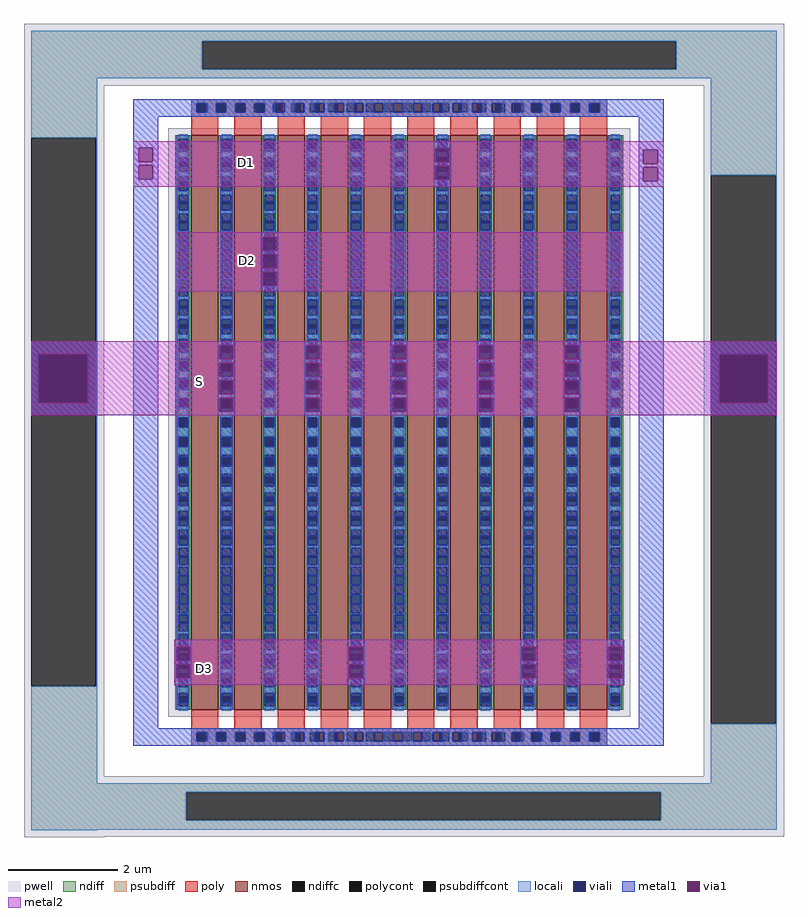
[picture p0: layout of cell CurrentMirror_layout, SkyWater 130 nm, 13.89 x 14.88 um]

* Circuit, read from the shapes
.subckt CurrentMirror_layout D3 S D1 D2
XM1 S D1 D3 S sky130_fd_pr__nfet_01v8 w=10.5 l=0.5 m=6
XM2 D2 D1 S S sky130_fd_pr__nfet_01v8 w=10.5 l=0.5 m=2
XM3 D1 D1 S S sky130_fd_pr__nfet_01v8 w=10.5 l=0.5 m=2
.ends

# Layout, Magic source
magic
tech sky130A
magscale 1 2
<< pwell >>
rect -553 2308 2226 2534
rect -553 -217 -260 2308
rect 1933 -217 2226 2308
rect -553 -439 2226 -217
rect -553 -441 -260 -439
<< psubdiff >>
rect -527 2470 2200 2508
rect -527 2368 98 2470
rect 1832 2368 2200 2470
rect -527 2334 2200 2368
rect -527 2117 -286 2334
rect -289 111 -286 2117
rect -527 -243 -286 111
rect 1959 1980 2200 2334
rect 2197 -26 2200 1980
rect 1959 -243 2200 -26
rect -527 -277 2200 -243
rect -527 -379 41 -277
rect 1775 -379 2200 -277
rect -527 -413 2200 -379
rect -527 -415 -286 -413
<< psubdiffcont >>
rect 98 2368 1832 2470
rect -527 111 -289 2117
rect 1959 -26 2197 1980
rect 41 -379 1775 -277
<< poly >>
rect 58 2244 1580 2258
rect 58 2210 84 2244
rect 118 2210 152 2244
rect 186 2210 220 2244
rect 254 2210 288 2244
rect 322 2210 356 2244
rect 390 2210 424 2244
rect 458 2210 492 2244
rect 526 2210 560 2244
rect 594 2210 628 2244
rect 662 2210 696 2244
rect 730 2210 764 2244
rect 798 2210 832 2244
rect 866 2210 900 2244
rect 934 2210 968 2244
rect 1002 2210 1036 2244
rect 1070 2210 1104 2244
rect 1138 2210 1172 2244
rect 1206 2210 1240 2244
rect 1274 2210 1308 2244
rect 1342 2210 1376 2244
rect 1410 2210 1444 2244
rect 1478 2210 1512 2244
rect 1546 2210 1580 2244
rect 58 2194 1580 2210
rect 58 2152 158 2194
rect 216 2152 316 2194
rect 374 2152 474 2194
rect 532 2152 632 2194
rect 690 2152 790 2194
rect 848 2152 948 2194
rect 1006 2152 1106 2194
rect 1164 2152 1264 2194
rect 1322 2152 1422 2194
rect 1480 2152 1580 2194
rect 58 -42 158 0
rect 216 -42 316 0
rect 374 -42 474 0
rect 532 -42 632 0
rect 690 -42 790 0
rect 848 -42 948 0
rect 1006 -42 1106 0
rect 1164 -42 1264 0
rect 1322 -42 1422 0
rect 1480 -42 1580 0
rect 58 -56 1580 -42
rect 58 -90 84 -56
rect 118 -90 152 -56
rect 186 -90 220 -56
rect 254 -90 288 -56
rect 322 -90 356 -56
rect 390 -90 424 -56
rect 458 -90 492 -56
rect 526 -90 560 -56
rect 594 -90 628 -56
rect 662 -90 696 -56
rect 730 -90 764 -56
rect 798 -90 832 -56
rect 866 -90 900 -56
rect 934 -90 968 -56
rect 1002 -90 1036 -56
rect 1070 -90 1104 -56
rect 1138 -90 1172 -56
rect 1206 -90 1240 -56
rect 1274 -90 1308 -56
rect 1342 -90 1376 -56
rect 1410 -90 1444 -56
rect 1478 -90 1512 -56
rect 1546 -90 1580 -56
rect 58 -106 1580 -90
<< polycont >>
rect 84 2210 118 2244
rect 152 2210 186 2244
rect 220 2210 254 2244
rect 288 2210 322 2244
rect 356 2210 390 2244
rect 424 2210 458 2244
rect 492 2210 526 2244
rect 560 2210 594 2244
rect 628 2210 662 2244
rect 696 2210 730 2244
rect 764 2210 798 2244
rect 832 2210 866 2244
rect 900 2210 934 2244
rect 968 2210 1002 2244
rect 1036 2210 1070 2244
rect 1104 2210 1138 2244
rect 1172 2210 1206 2244
rect 1240 2210 1274 2244
rect 1308 2210 1342 2244
rect 1376 2210 1410 2244
rect 1444 2210 1478 2244
rect 1512 2210 1546 2244
rect 84 -90 118 -56
rect 152 -90 186 -56
rect 220 -90 254 -56
rect 288 -90 322 -56
rect 356 -90 390 -56
rect 424 -90 458 -56
rect 492 -90 526 -56
rect 560 -90 594 -56
rect 628 -90 662 -56
rect 696 -90 730 -56
rect 764 -90 798 -56
rect 832 -90 866 -56
rect 900 -90 934 -56
rect 968 -90 1002 -56
rect 1036 -90 1070 -56
rect 1104 -90 1138 -56
rect 1172 -90 1206 -56
rect 1240 -90 1274 -56
rect 1308 -90 1342 -56
rect 1376 -90 1410 -56
rect 1444 -90 1478 -56
rect 1512 -90 1546 -56
<< locali >>
rect -527 2470 2200 2508
rect -527 2368 98 2470
rect 1832 2368 2200 2470
rect -527 2334 2200 2368
rect -527 2117 -286 2334
rect 58 2244 1580 2258
rect 58 2210 78 2244
rect 118 2210 150 2244
rect 186 2210 220 2244
rect 256 2210 288 2244
rect 328 2210 356 2244
rect 400 2210 424 2244
rect 472 2210 492 2244
rect 544 2210 560 2244
rect 616 2210 628 2244
rect 688 2210 696 2244
rect 760 2210 764 2244
rect 866 2210 870 2244
rect 934 2210 942 2244
rect 1002 2210 1014 2244
rect 1070 2210 1086 2244
rect 1138 2210 1158 2244
rect 1206 2210 1230 2244
rect 1274 2210 1302 2244
rect 1342 2210 1374 2244
rect 1410 2210 1444 2244
rect 1480 2210 1512 2244
rect 1552 2210 1580 2244
rect 58 2194 1580 2210
rect -289 111 -286 2117
rect -527 -243 -286 111
rect 1959 1980 2200 2334
rect 2197 -26 2200 1980
rect 58 -56 1580 -42
rect 58 -90 78 -56
rect 118 -90 150 -56
rect 186 -90 220 -56
rect 256 -90 288 -56
rect 328 -90 356 -56
rect 400 -90 424 -56
rect 472 -90 492 -56
rect 544 -90 560 -56
rect 616 -90 628 -56
rect 688 -90 696 -56
rect 760 -90 764 -56
rect 866 -90 870 -56
rect 934 -90 942 -56
rect 1002 -90 1014 -56
rect 1070 -90 1086 -56
rect 1138 -90 1158 -56
rect 1206 -90 1230 -56
rect 1274 -90 1302 -56
rect 1342 -90 1374 -56
rect 1410 -90 1444 -56
rect 1480 -90 1512 -56
rect 1552 -90 1580 -56
rect 58 -106 1580 -90
rect 1959 -243 2200 -26
rect -527 -277 2200 -243
rect -527 -379 41 -277
rect 1775 -379 2200 -277
rect -527 -413 2200 -379
rect -527 -415 -286 -413
<< viali >>
rect 78 2210 84 2244
rect 84 2210 112 2244
rect 150 2210 152 2244
rect 152 2210 184 2244
rect 222 2210 254 2244
rect 254 2210 256 2244
rect 294 2210 322 2244
rect 322 2210 328 2244
rect 366 2210 390 2244
rect 390 2210 400 2244
rect 438 2210 458 2244
rect 458 2210 472 2244
rect 510 2210 526 2244
rect 526 2210 544 2244
rect 582 2210 594 2244
rect 594 2210 616 2244
rect 654 2210 662 2244
rect 662 2210 688 2244
rect 726 2210 730 2244
rect 730 2210 760 2244
rect 798 2210 832 2244
rect 870 2210 900 2244
rect 900 2210 904 2244
rect 942 2210 968 2244
rect 968 2210 976 2244
rect 1014 2210 1036 2244
rect 1036 2210 1048 2244
rect 1086 2210 1104 2244
rect 1104 2210 1120 2244
rect 1158 2210 1172 2244
rect 1172 2210 1192 2244
rect 1230 2210 1240 2244
rect 1240 2210 1264 2244
rect 1302 2210 1308 2244
rect 1308 2210 1336 2244
rect 1374 2210 1376 2244
rect 1376 2210 1408 2244
rect 1446 2210 1478 2244
rect 1478 2210 1480 2244
rect 1518 2210 1546 2244
rect 1546 2210 1552 2244
rect -499 1148 -321 1326
rect 1990 1147 2168 1325
rect 78 -90 84 -56
rect 84 -90 112 -56
rect 150 -90 152 -56
rect 152 -90 184 -56
rect 222 -90 254 -56
rect 254 -90 256 -56
rect 294 -90 322 -56
rect 322 -90 328 -56
rect 366 -90 390 -56
rect 390 -90 400 -56
rect 438 -90 458 -56
rect 458 -90 472 -56
rect 510 -90 526 -56
rect 526 -90 544 -56
rect 582 -90 594 -56
rect 594 -90 616 -56
rect 654 -90 662 -56
rect 662 -90 688 -56
rect 726 -90 730 -56
rect 730 -90 760 -56
rect 798 -90 832 -56
rect 870 -90 900 -56
rect 900 -90 904 -56
rect 942 -90 968 -56
rect 968 -90 976 -56
rect 1014 -90 1036 -56
rect 1036 -90 1048 -56
rect 1086 -90 1104 -56
rect 1104 -90 1120 -56
rect 1158 -90 1172 -56
rect 1172 -90 1192 -56
rect 1230 -90 1240 -56
rect 1240 -90 1264 -56
rect 1302 -90 1308 -56
rect 1308 -90 1336 -56
rect 1374 -90 1376 -56
rect 1376 -90 1408 -56
rect 1446 -90 1478 -56
rect 1478 -90 1480 -56
rect 1518 -90 1546 -56
rect 1546 -90 1552 -56
<< metal1 >>
rect -154 2244 1786 2258
rect -154 2210 78 2244
rect 112 2210 150 2244
rect 184 2210 222 2244
rect 256 2210 294 2244
rect 328 2210 366 2244
rect 400 2210 438 2244
rect 472 2210 510 2244
rect 544 2210 582 2244
rect 616 2210 654 2244
rect 688 2210 726 2244
rect 760 2210 798 2244
rect 832 2210 870 2244
rect 904 2210 942 2244
rect 976 2210 1014 2244
rect 1048 2210 1086 2244
rect 1120 2210 1158 2244
rect 1192 2210 1230 2244
rect 1264 2210 1302 2244
rect 1336 2210 1374 2244
rect 1408 2210 1446 2244
rect 1480 2210 1518 2244
rect 1552 2210 1786 2244
rect -154 2194 1786 2210
rect -154 2081 -62 2194
rect -154 2029 -134 2081
rect -82 2029 -62 2081
rect -154 2017 -62 2029
rect -154 1965 -134 2017
rect -82 1965 -62 2017
rect -527 1327 -286 1373
rect -527 1147 -500 1327
rect -320 1147 -286 1327
rect -527 1103 -286 1147
rect -154 -42 -62 1965
rect 945 2079 1009 2103
rect 945 2027 951 2079
rect 1003 2027 1009 2079
rect 945 2015 1009 2027
rect 945 1963 951 2015
rect 1003 1963 1009 2015
rect 945 1940 1009 1963
rect 1694 2073 1786 2194
rect 1694 2021 1712 2073
rect 1764 2021 1786 2073
rect 1694 2009 1786 2021
rect 1694 1957 1712 2009
rect 1764 1957 1786 2009
rect 313 1755 377 1770
rect 313 1703 319 1755
rect 371 1703 377 1755
rect 313 1691 377 1703
rect 313 1639 319 1691
rect 371 1639 377 1691
rect 313 1627 377 1639
rect 313 1575 319 1627
rect 371 1575 377 1627
rect 313 1560 377 1575
rect 155 1359 219 1373
rect 155 1307 161 1359
rect 213 1307 219 1359
rect 155 1295 219 1307
rect 155 1243 161 1295
rect 213 1243 219 1295
rect 155 1231 219 1243
rect 155 1179 161 1231
rect 213 1179 219 1231
rect 155 1167 219 1179
rect 155 1115 161 1167
rect 213 1115 219 1167
rect 155 1102 219 1115
rect 471 1359 535 1373
rect 471 1307 477 1359
rect 529 1307 535 1359
rect 471 1295 535 1307
rect 471 1243 477 1295
rect 529 1243 535 1295
rect 471 1231 535 1243
rect 471 1179 477 1231
rect 529 1179 535 1231
rect 471 1167 535 1179
rect 471 1115 477 1167
rect 529 1115 535 1167
rect 471 1102 535 1115
rect 787 1359 851 1373
rect 787 1307 793 1359
rect 845 1307 851 1359
rect 787 1295 851 1307
rect 787 1243 793 1295
rect 845 1243 851 1295
rect 787 1231 851 1243
rect 787 1179 793 1231
rect 845 1179 851 1231
rect 787 1167 851 1179
rect 787 1115 793 1167
rect 845 1115 851 1167
rect 787 1102 851 1115
rect 1103 1359 1167 1373
rect 1103 1307 1109 1359
rect 1161 1307 1167 1359
rect 1103 1295 1167 1307
rect 1103 1243 1109 1295
rect 1161 1243 1167 1295
rect 1103 1231 1167 1243
rect 1103 1179 1109 1231
rect 1161 1179 1167 1231
rect 1103 1167 1167 1179
rect 1103 1115 1109 1167
rect 1161 1115 1167 1167
rect 1103 1102 1167 1115
rect 1419 1359 1483 1373
rect 1419 1307 1425 1359
rect 1477 1307 1483 1359
rect 1419 1295 1483 1307
rect 1419 1243 1425 1295
rect 1477 1243 1483 1295
rect 1419 1231 1483 1243
rect 1419 1179 1425 1231
rect 1477 1179 1483 1231
rect 1419 1167 1483 1179
rect 1419 1115 1425 1167
rect 1477 1115 1483 1167
rect 1419 1102 1483 1115
rect -3 256 61 282
rect -3 204 3 256
rect 55 204 61 256
rect -3 192 61 204
rect -3 140 3 192
rect 55 140 61 192
rect -3 115 61 140
rect 629 256 693 282
rect 629 204 635 256
rect 687 204 693 256
rect 629 192 693 204
rect 629 140 635 192
rect 687 140 693 192
rect 629 115 693 140
rect 1261 256 1325 282
rect 1261 204 1267 256
rect 1319 204 1325 256
rect 1261 192 1325 204
rect 1261 140 1267 192
rect 1319 140 1325 192
rect 1261 115 1325 140
rect 1577 256 1641 282
rect 1577 204 1583 256
rect 1635 204 1641 256
rect 1577 192 1641 204
rect 1577 140 1583 192
rect 1635 140 1641 192
rect 1577 115 1641 140
rect 1694 -42 1786 1957
rect 1959 1326 2200 1373
rect 1959 1146 1989 1326
rect 2169 1146 2200 1326
rect 1959 1103 2200 1146
rect -154 -56 1786 -42
rect -154 -90 78 -56
rect 112 -90 150 -56
rect 184 -90 222 -56
rect 256 -90 294 -56
rect 328 -90 366 -56
rect 400 -90 438 -56
rect 472 -90 510 -56
rect 544 -90 582 -56
rect 616 -90 654 -56
rect 688 -90 726 -56
rect 760 -90 798 -56
rect 832 -90 870 -56
rect 904 -90 942 -56
rect 976 -90 1014 -56
rect 1048 -90 1086 -56
rect 1120 -90 1158 -56
rect 1192 -90 1230 -56
rect 1264 -90 1302 -56
rect 1336 -90 1374 -56
rect 1408 -90 1446 -56
rect 1480 -90 1518 -56
rect 1552 -90 1786 -56
rect -154 -106 1786 -90
<< via1 >>
rect -134 2029 -82 2081
rect -134 1965 -82 2017
rect -500 1326 -320 1327
rect -500 1148 -499 1326
rect -499 1148 -321 1326
rect -321 1148 -320 1326
rect -500 1147 -320 1148
rect 951 2027 1003 2079
rect 951 1963 1003 2015
rect 1712 2021 1764 2073
rect 1712 1957 1764 2009
rect 319 1703 371 1755
rect 319 1639 371 1691
rect 319 1575 371 1627
rect 161 1307 213 1359
rect 161 1243 213 1295
rect 161 1179 213 1231
rect 161 1115 213 1167
rect 477 1307 529 1359
rect 477 1243 529 1295
rect 477 1179 529 1231
rect 477 1115 529 1167
rect 793 1307 845 1359
rect 793 1243 845 1295
rect 793 1179 845 1231
rect 793 1115 845 1167
rect 1109 1307 1161 1359
rect 1109 1243 1161 1295
rect 1109 1179 1161 1231
rect 1109 1115 1161 1167
rect 1425 1307 1477 1359
rect 1425 1243 1477 1295
rect 1425 1179 1477 1231
rect 1425 1115 1477 1167
rect 3 204 55 256
rect 3 140 55 192
rect 635 204 687 256
rect 635 140 687 192
rect 1267 204 1319 256
rect 1267 140 1319 192
rect 1583 204 1635 256
rect 1583 140 1635 192
rect 1989 1325 2169 1326
rect 1989 1147 1990 1325
rect 1990 1147 2168 1325
rect 2168 1147 2169 1325
rect 1989 1146 2169 1147
<< metal2 >>
rect -154 2081 1786 2104
rect -154 2029 -134 2081
rect -82 2079 1786 2081
rect -82 2029 951 2079
rect -154 2027 951 2029
rect 1003 2073 1786 2079
rect 1003 2027 1712 2073
rect -154 2021 1712 2027
rect 1764 2021 1786 2073
rect -154 2017 1786 2021
rect -154 1965 -134 2017
rect -82 2015 1786 2017
rect -82 1965 951 2015
rect -154 1963 951 1965
rect 1003 2009 1786 2015
rect 1003 1963 1712 2009
rect -154 1957 1712 1963
rect 1764 1957 1786 2009
rect -154 1938 1786 1957
rect 0 1755 1638 1772
rect 0 1703 319 1755
rect 371 1703 1638 1755
rect 0 1691 1638 1703
rect 0 1639 319 1691
rect 371 1639 1638 1691
rect 0 1627 1638 1639
rect 0 1575 319 1627
rect 371 1575 1638 1627
rect 0 1556 1638 1575
rect -527 1359 2200 1373
rect -527 1327 161 1359
rect -527 1147 -500 1327
rect -320 1307 161 1327
rect 213 1307 477 1359
rect 529 1307 793 1359
rect 845 1307 1109 1359
rect 1161 1307 1425 1359
rect 1477 1326 2200 1359
rect 1477 1307 1989 1326
rect -320 1295 1989 1307
rect -320 1243 161 1295
rect 213 1243 477 1295
rect 529 1243 793 1295
rect 845 1243 1109 1295
rect 1161 1243 1425 1295
rect 1477 1243 1989 1295
rect -320 1231 1989 1243
rect -320 1179 161 1231
rect 213 1179 477 1231
rect 529 1179 793 1231
rect 845 1179 1109 1231
rect 1161 1179 1425 1231
rect 1477 1179 1989 1231
rect -320 1167 1989 1179
rect -320 1147 161 1167
rect -527 1115 161 1147
rect 213 1115 477 1167
rect 529 1115 793 1167
rect 845 1115 1109 1167
rect 1161 1115 1425 1167
rect 1477 1146 1989 1167
rect 2169 1146 2200 1326
rect 1477 1115 2200 1146
rect -527 1103 2200 1115
rect -3 256 1641 282
rect -3 204 3 256
rect 55 204 635 256
rect 687 204 1267 256
rect 1319 204 1583 256
rect 1635 204 1641 256
rect -3 192 1641 204
rect -3 140 3 192
rect 55 140 635 192
rect 687 140 1267 192
rect 1319 140 1583 192
rect 1635 140 1641 192
rect -3 116 1641 140
use sky130_fd_pr__nfet_01v8_RC9KLY  sky130_fd_pr__nfet_01v8_RC9KLY_9
transform 1 0 108 0 1 1076
box -134 -1076 134 1076
use sky130_fd_pr__nfet_01v8_RC9KLY  sky130_fd_pr__nfet_01v8_RC9KLY_8
transform 1 0 266 0 1 1076
box -134 -1076 134 1076
use sky130_fd_pr__nfet_01v8_RC9KLY  sky130_fd_pr__nfet_01v8_RC9KLY_7
transform 1 0 424 0 1 1076
box -134 -1076 134 1076
use sky130_fd_pr__nfet_01v8_RC9KLY  sky130_fd_pr__nfet_01v8_RC9KLY_6
transform 1 0 582 0 1 1076
box -134 -1076 134 1076
use sky130_fd_pr__nfet_01v8_RC9KLY  sky130_fd_pr__nfet_01v8_RC9KLY_5
transform 1 0 740 0 1 1076
box -134 -1076 134 1076
use sky130_fd_pr__nfet_01v8_RC9KLY  sky130_fd_pr__nfet_01v8_RC9KLY_4
transform 1 0 898 0 1 1076
box -134 -1076 134 1076
use sky130_fd_pr__nfet_01v8_RC9KLY  sky130_fd_pr__nfet_01v8_RC9KLY_3
transform 1 0 1056 0 1 1076
box -134 -1076 134 1076
use sky130_fd_pr__nfet_01v8_RC9KLY  sky130_fd_pr__nfet_01v8_RC9KLY_2
transform 1 0 1214 0 1 1076
box -134 -1076 134 1076
use sky130_fd_pr__nfet_01v8_RC9KLY  sky130_fd_pr__nfet_01v8_RC9KLY_1
transform 1 0 1372 0 1 1076
box -134 -1076 134 1076
use sky130_fd_pr__nfet_01v8_RC9KLY  sky130_fd_pr__nfet_01v8_RC9KLY_0
transform 1 0 1530 0 1 1076
box -134 -1076 134 1076
<< labels >>
flabel metal2 s 108 177 108 177 0 FreeSans 800 0 0 0 D3
port 1 nsew
flabel metal2 s 88 1226 88 1226 0 FreeSans 800 0 0 0 S
port 2 nsew
flabel metal2 s 262 2027 262 2027 0 FreeSans 800 0 0 0 D1
port 3 nsew
flabel metal2 s 266 1667 266 1667 0 FreeSans 800 0 0 0 D2
port 4 nsew
<< end >>

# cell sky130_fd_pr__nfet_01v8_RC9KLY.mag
magic
tech sky130A
magscale 1 2
<< pwell >>
rect -134 -1076 134 1076
<< nmos >>
rect -50 -1050 50 1050
<< ndiff >>
rect -108 1037 -50 1050
rect -108 1003 -96 1037
rect -62 1003 -50 1037
rect -108 969 -50 1003
rect -108 935 -96 969
rect -62 935 -50 969
rect -108 901 -50 935
rect -108 867 -96 901
rect -62 867 -50 901
rect -108 833 -50 867
rect -108 799 -96 833
rect -62 799 -50 833
rect -108 765 -50 799
rect -108 731 -96 765
rect -62 731 -50 765
rect -108 697 -50 731
rect -108 663 -96 697
rect -62 663 -50 697
rect -108 629 -50 663
rect -108 595 -96 629
rect -62 595 -50 629
rect -108 561 -50 595
rect -108 527 -96 561
rect -62 527 -50 561
rect -108 493 -50 527
rect -108 459 -96 493
rect -62 459 -50 493
rect -108 425 -50 459
rect -108 391 -96 425
rect -62 391 -50 425
rect -108 357 -50 391
rect -108 323 -96 357
rect -62 323 -50 357
rect -108 289 -50 323
rect -108 255 -96 289
rect -62 255 -50 289
rect -108 221 -50 255
rect -108 187 -96 221
rect -62 187 -50 221
rect -108 153 -50 187
rect -108 119 -96 153
rect -62 119 -50 153
rect -108 85 -50 119
rect -108 51 -96 85
rect -62 51 -50 85
rect -108 17 -50 51
rect -108 -17 -96 17
rect -62 -17 -50 17
rect -108 -51 -50 -17
rect -108 -85 -96 -51
rect -62 -85 -50 -51
rect -108 -119 -50 -85
rect -108 -153 -96 -119
rect -62 -153 -50 -119
rect -108 -187 -50 -153
rect -108 -221 -96 -187
rect -62 -221 -50 -187
rect -108 -255 -50 -221
rect -108 -289 -96 -255
rect -62 -289 -50 -255
rect -108 -323 -50 -289
rect -108 -357 -96 -323
rect -62 -357 -50 -323
rect -108 -391 -50 -357
rect -108 -425 -96 -391
rect -62 -425 -50 -391
rect -108 -459 -50 -425
rect -108 -493 -96 -459
rect -62 -493 -50 -459
rect -108 -527 -50 -493
rect -108 -561 -96 -527
rect -62 -561 -50 -527
rect -108 -595 -50 -561
rect -108 -629 -96 -595
rect -62 -629 -50 -595
rect -108 -663 -50 -629
rect -108 -697 -96 -663
rect -62 -697 -50 -663
rect -108 -731 -50 -697
rect -108 -765 -96 -731
rect -62 -765 -50 -731
rect -108 -799 -50 -765
rect -108 -833 -96 -799
rect -62 -833 -50 -799
rect -108 -867 -50 -833
rect -108 -901 -96 -867
rect -62 -901 -50 -867
rect -108 -935 -50 -901
rect -108 -969 -96 -935
rect -62 -969 -50 -935
rect -108 -1003 -50 -969
rect -108 -1037 -96 -1003
rect -62 -1037 -50 -1003
rect -108 -1050 -50 -1037
rect 50 1037 108 1050
rect 50 1003 62 1037
rect 96 1003 108 1037
rect 50 969 108 1003
rect 50 935 62 969
rect 96 935 108 969
rect 50 901 108 935
rect 50 867 62 901
rect 96 867 108 901
rect 50 833 108 867
rect 50 799 62 833
rect 96 799 108 833
rect 50 765 108 799
rect 50 731 62 765
rect 96 731 108 765
rect 50 697 108 731
rect 50 663 62 697
rect 96 663 108 697
rect 50 629 108 663
rect 50 595 62 629
rect 96 595 108 629
rect 50 561 108 595
rect 50 527 62 561
rect 96 527 108 561
rect 50 493 108 527
rect 50 459 62 493
rect 96 459 108 493
rect 50 425 108 459
rect 50 391 62 425
rect 96 391 108 425
rect 50 357 108 391
rect 50 323 62 357
rect 96 323 108 357
rect 50 289 108 323
rect 50 255 62 289
rect 96 255 108 289
rect 50 221 108 255
rect 50 187 62 221
rect 96 187 108 221
rect 50 153 108 187
rect 50 119 62 153
rect 96 119 108 153
rect 50 85 108 119
rect 50 51 62 85
rect 96 51 108 85
rect 50 17 108 51
rect 50 -17 62 17
rect 96 -17 108 17
rect 50 -51 108 -17
rect 50 -85 62 -51
rect 96 -85 108 -51
rect 50 -119 108 -85
rect 50 -153 62 -119
rect 96 -153 108 -119
rect 50 -187 108 -153
rect 50 -221 62 -187
rect 96 -221 108 -187
rect 50 -255 108 -221
rect 50 -289 62 -255
rect 96 -289 108 -255
rect 50 -323 108 -289
rect 50 -357 62 -323
rect 96 -357 108 -323
rect 50 -391 108 -357
rect 50 -425 62 -391
rect 96 -425 108 -391
rect 50 -459 108 -425
rect 50 -493 62 -459
rect 96 -493 108 -459
rect 50 -527 108 -493
rect 50 -561 62 -527
rect 96 -561 108 -527
rect 50 -595 108 -561
rect 50 -629 62 -595
rect 96 -629 108 -595
rect 50 -663 108 -629
rect 50 -697 62 -663
rect 96 -697 108 -663
rect 50 -731 108 -697
rect 50 -765 62 -731
rect 96 -765 108 -731
rect 50 -799 108 -765
rect 50 -833 62 -799
rect 96 -833 108 -799
rect 50 -867 108 -833
rect 50 -901 62 -867
rect 96 -901 108 -867
rect 50 -935 108 -901
rect 50 -969 62 -935
rect 96 -969 108 -935
rect 50 -1003 108 -969
rect 50 -1037 62 -1003
rect 96 -1037 108 -1003
rect 50 -1050 108 -1037
<< ndiffc >>
rect -96 1003 -62 1037
rect -96 935 -62 969
rect -96 867 -62 901
rect -96 799 -62 833
rect -96 731 -62 765
rect -96 663 -62 697
rect -96 595 -62 629
rect -96 527 -62 561
rect -96 459 -62 493
rect -96 391 -62 425
rect -96 323 -62 357
rect -96 255 -62 289
rect -96 187 -62 221
rect -96 119 -62 153
rect -96 51 -62 85
rect -96 -17 -62 17
rect -96 -85 -62 -51
rect -96 -153 -62 -119
rect -96 -221 -62 -187
rect -96 -289 -62 -255
rect -96 -357 -62 -323
rect -96 -425 -62 -391
rect -96 -493 -62 -459
rect -96 -561 -62 -527
rect -96 -629 -62 -595
rect -96 -697 -62 -663
rect -96 -765 -62 -731
rect -96 -833 -62 -799
rect -96 -901 -62 -867
rect -96 -969 -62 -935
rect -96 -1037 -62 -1003
rect 62 1003 96 1037
rect 62 935 96 969
rect 62 867 96 901
rect 62 799 96 833
rect 62 731 96 765
rect 62 663 96 697
rect 62 595 96 629
rect 62 527 96 561
rect 62 459 96 493
rect 62 391 96 425
rect 62 323 96 357
rect 62 255 96 289
rect 62 187 96 221
rect 62 119 96 153
rect 62 51 96 85
rect 62 -17 96 17
rect 62 -85 96 -51
rect 62 -153 96 -119
rect 62 -221 96 -187
rect 62 -289 96 -255
rect 62 -357 96 -323
rect 62 -425 96 -391
rect 62 -493 96 -459
rect 62 -561 96 -527
rect 62 -629 96 -595
rect 62 -697 96 -663
rect 62 -765 96 -731
rect 62 -833 96 -799
rect 62 -901 96 -867
rect 62 -969 96 -935
rect 62 -1037 96 -1003
<< poly >>
rect -50 1050 50 1076
rect -50 -1076 50 -1050
<< locali >>
rect -96 1037 -62 1054
rect -96 969 -62 991
rect -96 901 -62 919
rect -96 833 -62 847
rect -96 765 -62 775
rect -96 697 -62 703
rect -96 629 -62 631
rect -96 593 -62 595
rect -96 521 -62 527
rect -96 449 -62 459
rect -96 377 -62 391
rect -96 305 -62 323
rect -96 233 -62 255
rect -96 161 -62 187
rect -96 89 -62 119
rect -96 17 -62 51
rect -96 -51 -62 -17
rect -96 -119 -62 -89
rect -96 -187 -62 -161
rect -96 -255 -62 -233
rect -96 -323 -62 -305
rect -96 -391 -62 -377
rect -96 -459 -62 -449
rect -96 -527 -62 -521
rect -96 -595 -62 -593
rect -96 -631 -62 -629
rect -96 -703 -62 -697
rect -96 -775 -62 -765
rect -96 -847 -62 -833
rect -96 -919 -62 -901
rect -96 -991 -62 -969
rect -96 -1054 -62 -1037
rect 62 1037 96 1054
rect 62 969 96 991
rect 62 901 96 919
rect 62 833 96 847
rect 62 765 96 775
rect 62 697 96 703
rect 62 629 96 631
rect 62 593 96 595
rect 62 521 96 527
rect 62 449 96 459
rect 62 377 96 391
rect 62 305 96 323
rect 62 233 96 255
rect 62 161 96 187
rect 62 89 96 119
rect 62 17 96 51
rect 62 -51 96 -17
rect 62 -119 96 -89
rect 62 -187 96 -161
rect 62 -255 96 -233
rect 62 -323 96 -305
rect 62 -391 96 -377
rect 62 -459 96 -449
rect 62 -527 96 -521
rect 62 -595 96 -593
rect 62 -631 96 -629
rect 62 -703 96 -697
rect 62 -775 96 -765
rect 62 -847 96 -833
rect 62 -919 96 -901
rect 62 -991 96 -969
rect 62 -1054 96 -1037
<< viali >>
rect -96 1003 -62 1025
rect -96 991 -62 1003
rect -96 935 -62 953
rect -96 919 -62 935
rect -96 867 -62 881
rect -96 847 -62 867
rect -96 799 -62 809
rect -96 775 -62 799
rect -96 731 -62 737
rect -96 703 -62 731
rect -96 663 -62 665
rect -96 631 -62 663
rect -96 561 -62 593
rect -96 559 -62 561
rect -96 493 -62 521
rect -96 487 -62 493
rect -96 425 -62 449
rect -96 415 -62 425
rect -96 357 -62 377
rect -96 343 -62 357
rect -96 289 -62 305
rect -96 271 -62 289
rect -96 221 -62 233
rect -96 199 -62 221
rect -96 153 -62 161
rect -96 127 -62 153
rect -96 85 -62 89
rect -96 55 -62 85
rect -96 -17 -62 17
rect -96 -85 -62 -55
rect -96 -89 -62 -85
rect -96 -153 -62 -127
rect -96 -161 -62 -153
rect -96 -221 -62 -199
rect -96 -233 -62 -221
rect -96 -289 -62 -271
rect -96 -305 -62 -289
rect -96 -357 -62 -343
rect -96 -377 -62 -357
rect -96 -425 -62 -415
rect -96 -449 -62 -425
rect -96 -493 -62 -487
rect -96 -521 -62 -493
rect -96 -561 -62 -559
rect -96 -593 -62 -561
rect -96 -663 -62 -631
rect -96 -665 -62 -663
rect -96 -731 -62 -703
rect -96 -737 -62 -731
rect -96 -799 -62 -775
rect -96 -809 -62 -799
rect -96 -867 -62 -847
rect -96 -881 -62 -867
rect -96 -935 -62 -919
rect -96 -953 -62 -935
rect -96 -1003 -62 -991
rect -96 -1025 -62 -1003
rect 62 1003 96 1025
rect 62 991 96 1003
rect 62 935 96 953
rect 62 919 96 935
rect 62 867 96 881
rect 62 847 96 867
rect 62 799 96 809
rect 62 775 96 799
rect 62 731 96 737
rect 62 703 96 731
rect 62 663 96 665
rect 62 631 96 663
rect 62 561 96 593
rect 62 559 96 561
rect 62 493 96 521
rect 62 487 96 493
rect 62 425 96 449
rect 62 415 96 425
rect 62 357 96 377
rect 62 343 96 357
rect 62 289 96 305
rect 62 271 96 289
rect 62 221 96 233
rect 62 199 96 221
rect 62 153 96 161
rect 62 127 96 153
rect 62 85 96 89
rect 62 55 96 85
rect 62 -17 96 17
rect 62 -85 96 -55
rect 62 -89 96 -85
rect 62 -153 96 -127
rect 62 -161 96 -153
rect 62 -221 96 -199
rect 62 -233 96 -221
rect 62 -289 96 -271
rect 62 -305 96 -289
rect 62 -357 96 -343
rect 62 -377 96 -357
rect 62 -425 96 -415
rect 62 -449 96 -425
rect 62 -493 96 -487
rect 62 -521 96 -493
rect 62 -561 96 -559
rect 62 -593 96 -561
rect 62 -663 96 -631
rect 62 -665 96 -663
rect 62 -731 96 -703
rect 62 -737 96 -731
rect 62 -799 96 -775
rect 62 -809 96 -799
rect 62 -867 96 -847
rect 62 -881 96 -867
rect 62 -935 96 -919
rect 62 -953 96 -935
rect 62 -1003 96 -991
rect 62 -1025 96 -1003
<< metal1 >>
rect -102 1025 -56 1050
rect -102 991 -96 1025
rect -62 991 -56 1025
rect -102 953 -56 991
rect -102 919 -96 953
rect -62 919 -56 953
rect -102 881 -56 919
rect -102 847 -96 881
rect -62 847 -56 881
rect -102 809 -56 847
rect -102 775 -96 809
rect -62 775 -56 809
rect -102 737 -56 775
rect -102 703 -96 737
rect -62 703 -56 737
rect -102 665 -56 703
rect -102 631 -96 665
rect -62 631 -56 665
rect -102 593 -56 631
rect -102 559 -96 593
rect -62 559 -56 593
rect -102 521 -56 559
rect -102 487 -96 521
rect -62 487 -56 521
rect -102 449 -56 487
rect -102 415 -96 449
rect -62 415 -56 449
rect -102 377 -56 415
rect -102 343 -96 377
rect -62 343 -56 377
rect -102 305 -56 343
rect -102 271 -96 305
rect -62 271 -56 305
rect -102 233 -56 271
rect -102 199 -96 233
rect -62 199 -56 233
rect -102 161 -56 199
rect -102 127 -96 161
rect -62 127 -56 161
rect -102 89 -56 127
rect -102 55 -96 89
rect -62 55 -56 89
rect -102 17 -56 55
rect -102 -17 -96 17
rect -62 -17 -56 17
rect -102 -55 -56 -17
rect -102 -89 -96 -55
rect -62 -89 -56 -55
rect -102 -127 -56 -89
rect -102 -161 -96 -127
rect -62 -161 -56 -127
rect -102 -199 -56 -161
rect -102 -233 -96 -199
rect -62 -233 -56 -199
rect -102 -271 -56 -233
rect -102 -305 -96 -271
rect -62 -305 -56 -271
rect -102 -343 -56 -305
rect -102 -377 -96 -343
rect -62 -377 -56 -343
rect -102 -415 -56 -377
rect -102 -449 -96 -415
rect -62 -449 -56 -415
rect -102 -487 -56 -449
rect -102 -521 -96 -487
rect -62 -521 -56 -487
rect -102 -559 -56 -521
rect -102 -593 -96 -559
rect -62 -593 -56 -559
rect -102 -631 -56 -593
rect -102 -665 -96 -631
rect -62 -665 -56 -631
rect -102 -703 -56 -665
rect -102 -737 -96 -703
rect -62 -737 -56 -703
rect -102 -775 -56 -737
rect -102 -809 -96 -775
rect -62 -809 -56 -775
rect -102 -847 -56 -809
rect -102 -881 -96 -847
rect -62 -881 -56 -847
rect -102 -919 -56 -881
rect -102 -953 -96 -919
rect -62 -953 -56 -919
rect -102 -991 -56 -953
rect -102 -1025 -96 -991
rect -62 -1025 -56 -991
rect -102 -1050 -56 -1025
rect 56 1025 102 1050
rect 56 991 62 1025
rect 96 991 102 1025
rect 56 953 102 991
rect 56 919 62 953
rect 96 919 102 953
rect 56 881 102 919
rect 56 847 62 881
rect 96 847 102 881
rect 56 809 102 847
rect 56 775 62 809
rect 96 775 102 809
rect 56 737 102 775
rect 56 703 62 737
rect 96 703 102 737
rect 56 665 102 703
rect 56 631 62 665
rect 96 631 102 665
rect 56 593 102 631
rect 56 559 62 593
rect 96 559 102 593
rect 56 521 102 559
rect 56 487 62 521
rect 96 487 102 521
rect 56 449 102 487
rect 56 415 62 449
rect 96 415 102 449
rect 56 377 102 415
rect 56 343 62 377
rect 96 343 102 377
rect 56 305 102 343
rect 56 271 62 305
rect 96 271 102 305
rect 56 233 102 271
rect 56 199 62 233
rect 96 199 102 233
rect 56 161 102 199
rect 56 127 62 161
rect 96 127 102 161
rect 56 89 102 127
rect 56 55 62 89
rect 96 55 102 89
rect 56 17 102 55
rect 56 -17 62 17
rect 96 -17 102 17
rect 56 -55 102 -17
rect 56 -89 62 -55
rect 96 -89 102 -55
rect 56 -127 102 -89
rect 56 -161 62 -127
rect 96 -161 102 -127
rect 56 -199 102 -161
rect 56 -233 62 -199
rect 96 -233 102 -199
rect 56 -271 102 -233
rect 56 -305 62 -271
rect 96 -305 102 -271
rect 56 -343 102 -305
rect 56 -377 62 -343
rect 96 -377 102 -343
rect 56 -415 102 -377
rect 56 -449 62 -415
rect 96 -449 102 -415
rect 56 -487 102 -449
rect 56 -521 62 -487
rect 96 -521 102 -487
rect 56 -559 102 -521
rect 56 -593 62 -559
rect 96 -593 102 -559
rect 56 -631 102 -593
rect 56 -665 62 -631
rect 96 -665 102 -631
rect 56 -703 102 -665
rect 56 -737 62 -703
rect 96 -737 102 -703
rect 56 -775 102 -737
rect 56 -809 62 -775
rect 96 -809 102 -775
rect 56 -847 102 -809
rect 56 -881 62 -847
rect 96 -881 102 -847
rect 56 -919 102 -881
rect 56 -953 62 -919
rect 96 -953 102 -919
rect 56 -991 102 -953
rect 56 -1025 62 -991
rect 96 -1025 102 -991
rect 56 -1050 102 -1025
<< end >>
